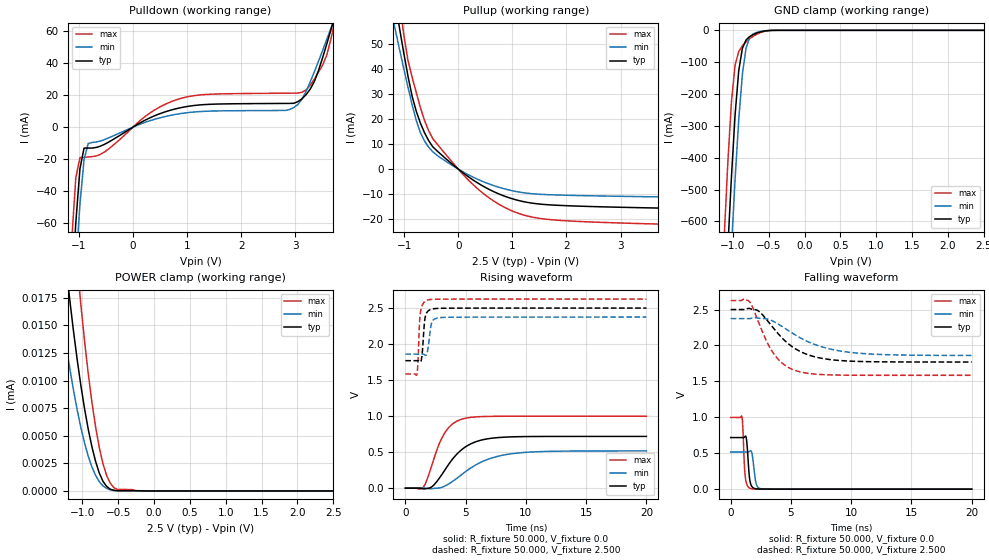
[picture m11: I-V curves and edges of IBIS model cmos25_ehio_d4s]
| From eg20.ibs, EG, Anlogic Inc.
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|   Model cmos25_ehio_d4s
[Model] cmos25_ehio_d4s
Model_type I/O
Polarity   Non-Inverting
Enable   Active-Low
C_comp   4.500pF   4.200pF   4.800pF
[Temperature Range]   25.000   80.000   -40.000
[Voltage Range]   2.500V   2.375V   2.625V
[Pullup Reference]   2.500V   2.375V   2.625V
[Pulldown Reference]   0.0V   0.0V   0.0V
[POWER Clamp Reference]   2.500V   2.375V   2.625V
[GND Clamp Reference]   0.0V   0.0V   0.0V
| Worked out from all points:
|   slope of the pulldown table from 0 to 0.375 V, typ, clamps not added: 55.4 ohm
|   slope of the pullup table from 0 to 0.375 V, typ, clamps not added: 65.3 ohm
|   GND clamp passes 1 mA (typ) near -0.51 V on its own axis
|   rising waveform, R_fixture 50.000, V_fixture 0.0: 20-80 % time 2.16ns typ, 3.08ns min, 1.43ns max; typ from 0 V to 0.718 V
|   rising waveform, R_fixture 50.000, V_fixture 2.500: 20-80 % time 205ps typ, 246ps min, 178ps max; typ from 1.77 V to 2.5 V
|   falling waveform, R_fixture 50.000, V_fixture 0.0: 20-80 % time 195ps typ, 233ps min, 169ps max; typ from 0.718 V to 0 V
|   falling waveform, R_fixture 50.000, V_fixture 2.500: 20-80 % time 2.77ns typ, 3.74ns min, 1.93ns max; typ from 2.5 V to 1.77 V
[Pulldown]
|Voltage   I(typ)   I(min)   I(max)
-2.5V     -915.1mA   -887.1mA   -945.7mA
-1.132V   -103.3mA   -129.9mA   -71.03mA
-1.056V   -59.94mA   -87.11mA   -31.78mA
-980mV    -26.19mA   -48.5mA    -19.15mA
-904mV    -13.14mA   -20.44mA   -18.93mA
-828mV    -13.13mA   -10.24mA   -18.7mA
540mV     8.957mA    6.207mA    13.42mA
2.896V    14.89mA    11.09mA    21.31mA
3.276V    23.85mA    28.37mA    26.22mA
3.656V    60.76mA    61.75mA    54.92mA
3.732V    69.69mA    68.75mA    66.42mA
5V        217.6mA    184.1mA    262.5mA
[Pullup]
|Voltage   I(typ)   I(min)   I(max)
-2.5V     198.1mA    157.3mA    281.5mA
-1.232V   75.04mA    62.36mA    91.46mA
-1.156V   65.18mA    54.73mA    78.29mA
-1.08V    55.44mA    47.17mA    65.35mA
-1.004V   45.92mA    39.74mA    53.13mA
-852mV    28.99mA    25.58mA    36.52mA
-700mV    18.36mA    14.53mA    24.56mA
-548mV    11.39mA    8.747mA    15.34mA
212mV     -3.439mA   -2.528mA   -4.9mA
896mV     -11.1mA    -8.107mA   -15.68mA
1.808V    -14.39mA   -10.31mA   -20.32mA
5V        -16.1mA    -11.49mA   -22.69mA
[GND_clamp]
|Voltage   I(typ)   I(min)   I(max)
-2.5V     -8.418A    -8.415A    -8.417A
-1.123V   -930.3mA   -1.157A    -654.3mA
-1.072V   -686.6mA   -914.7mA   -418.2mA
-1.021V   -460.5mA   -682.9mA   -224.3mA
-970mV    -265mA     -467.6mA   -108.9mA
-919mV    -126.2mA   -280.3mA   -66.46mA
-868mV    -56.3mA    -137.6mA   -48.52mA
-817mV    -30.13mA   -55.3mA    -36.27mA
-766mV    -19.43mA   -22.36mA   -26.43mA
-715mV    -12.99mA   -11.03mA   -18.38mA
-460mV    -252.4uA   -215uA     -246.3uA
2.5V      0A         0A         0A
[POWER_clamp]
|Voltage   I(typ)   I(min)   I(max)
-2.498V   148.6uA    111.4uA    210uA
-1.325V   26.65uA    17.8uA     42.46uA
-1.223V   20.08uA    13.08uA    32.78uA
-1.172V   17.11uA    10.97uA    28.34uA
-1.07V    11.8uA     7.273uA    20.31uA
-1.019V   9.477uA    5.695uA    16.75uA
-917mV    5.563uA    3.134uA    10.59uA
-866mV    3.981uA    2.162uA    8.011uA
-764mV    1.63uA     839nA      3.939uA
-662mV    409.2nA    226.2nA    1.412uA
-509mV    22.2nA     18.94nA    130.3nA
2.5V      0A         0A         0A
[Ramp]
| variable   typ   min   max
dV/dt_r   0.431/2.174n   0.310/3.104n   0.599/1.445n
dV/dt_f   0.438/2.788n   0.309/3.780n   0.624/1.942n
R_load = 50.000
[Rising Waveform]
R_fixture= 50.000
V_fixture= 0.0
V_fixture_min= 0.0
V_fixture_max= 0.0
|time   V(typ)   V(min)   V(max)
0s        480.2pV    4.508nV    387.5pV
1.475ns   -9.442mV   203.1uV    9.914mV
2.213ns   21.05mV    -7.251mV   326.3mV
2.731ns   118.3mV    694.5uV    582.3mV
3.201ns   231.7mV    22.75mV    748.2mV
3.836ns   386.4mV    84.23mV    880.6mV
4.756ns   544.8mV    198.8mV    960.8mV
6.681ns   680.4mV    389.3mV    995mV
8.881ns   712mV      478.7mV    998.1mV
20ns      718.1mV    516.9mV    998.3mV
[Rising Waveform]
R_fixture= 50.000
V_fixture= 2.500
V_fixture_min= 2.375
V_fixture_max= 2.625
|time   V(typ)   V(min)   V(max)
0s        1.77V      1.86V      1.585V
947ps     1.77V      1.86V      1.575V
1.027ns   1.77V      1.86V      1.699V
1.256ns   1.752V     1.86V      2.446V
1.395ns   1.869V     1.861V     2.538V
1.613ns   2.341V     1.849V     2.59V
1.834ns   2.45V      1.899V     2.61V
2.191ns   2.485V     2.3V       2.62V
2.781ns   2.496V     2.366V     2.623V
20ns      2.5V       2.375V     2.625V
[Falling Waveform]
R_fixture= 50.000
V_fixture= 0.0
V_fixture_min= 0.0
V_fixture_max= 0.0
|time   V(typ)   V(min)   V(max)
0s        718.1mV    516.9mV    998.3mV
936ps     718mV      516.9mV    1.008V
998ps     717.6mV    516.9mV    894mV
1.214ns   737.9mV    516.9mV    170.9mV
1.326ns   674.4mV    516.6mV    73.91mV
1.535ns   203.4mV    521.3mV    19.14mV
1.667ns   69.93mV    535.7mV    8.667mV
2.102ns   5.316mV    85.43mV    1.565mV
2.452ns   1.828mV    8.676mV    1.007mV
20ns      233.4nV    1.522uV    168.5nV
[Falling Waveform]
R_fixture= 50.000
V_fixture= 2.500
V_fixture_min= 2.375
V_fixture_max= 2.625
|time   V(typ)   V(min)   V(max)
0s        2.5V       2.375V     2.625V
1.545ns   2.516V     2.374V     2.613V
2.346ns   2.475V     2.378V     2.31V
2.974ns   2.361V     2.37V      2.061V
3.552ns   2.242V     2.335V     1.89V
4.426ns   2.078V     2.247V     1.734V
5.464ns   1.944V     2.136V     1.647V
7.252ns   1.831V     1.997V     1.598V
9.924ns   1.782V     1.904V     1.586V
20ns      1.77V      1.861V     1.585V
